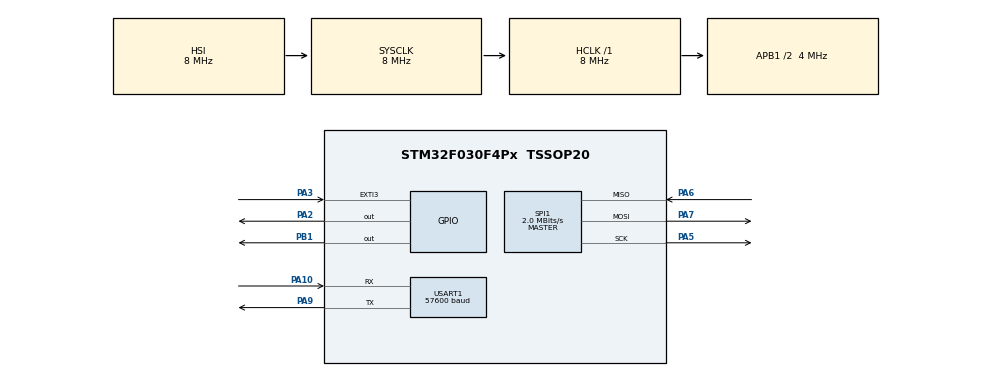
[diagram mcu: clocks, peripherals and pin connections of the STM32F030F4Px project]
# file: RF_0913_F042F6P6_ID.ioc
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Dma.Request0=USART1_RX
Dma.Request1=USART1_TX
Dma.USART1_RX.0.Direction=DMA_PERIPH_TO_MEMORY
Dma.USART1_RX.0.Instance=DMA1_Channel3
Dma.USART1_RX.0.MemDataAlignment=DMA_MDATAALIGN_BYTE
Dma.USART1_RX.0.MemInc=DMA_MINC_ENABLE
Dma.USART1_RX.0.Mode=DMA_NORMAL
Dma.USART1_RX.0.PeriphDataAlignment=DMA_PDATAALIGN_BYTE
Dma.USART1_RX.0.PeriphInc=DMA_PINC_DISABLE
Dma.USART1_RX.0.Priority=DMA_PRIORITY_LOW
Dma.USART1_TX.1.Direction=DMA_MEMORY_TO_PERIPH
Dma.USART1_TX.1.Instance=DMA1_Channel2
Dma.USART1_TX.1.MemDataAlignment=DMA_MDATAALIGN_BYTE
Dma.USART1_TX.1.MemInc=DMA_MINC_ENABLE
Dma.USART1_TX.1.Mode=DMA_NORMAL
Dma.USART1_TX.1.PeriphDataAlignment=DMA_PDATAALIGN_BYTE
Dma.USART1_TX.1.PeriphInc=DMA_PINC_DISABLE
Dma.USART1_TX.1.Priority=DMA_PRIORITY_LOW
Mcu.Family=STM32F0
Mcu.Name=STM32F030F4Px
Mcu.Package=TSSOP20
NVIC.DMA1_Channel2_3_IRQn=true\:0\:0\:false\:false\:true
NVIC.EXTI2_3_IRQn=true\:0\:0\:false\:false\:true
NVIC.USART1_IRQn=true\:0\:0\:false\:false\:true
PA10.Mode=Asynchronous
PA10.Signal=USART1_RX
PA13.Mode=Serial_Wire
PA13.Signal=SYS_SWDIO
PA14.Mode=Serial_Wire
PA14.Signal=SYS_SWCLK
PA2.PinState=GPIO_PIN_SET
PA2.Signal=GPIO_Output
PA3.GPIO_ModeDefaultEXTI=GPIO_MODE_IT_FALLING
PA3.GPIO_PuPd=GPIO_PULLUP
PA3.Signal=GPXTI3
PA5.Mode=Full_Duplex_Master
PA5.Signal=SPI1_SCK
PA6.Mode=Full_Duplex_Master
PA6.Signal=SPI1_MISO
PA7.Mode=Full_Duplex_Master
PA7.Signal=SPI1_MOSI
PA9.Mode=Asynchronous
PA9.Signal=USART1_TX
PB1.Signal=GPIO_Output
ProjectManager.HeapSize=0x200
ProjectManager.StackSize=0x400
ProjectManager.TargetToolchain=MDK-ARM V5
RCC.AHBFreq_Value=8000000
RCC.APB1CLKDivider=RCC_HCLK_DIV2
RCC.APB1Freq_Value=4000000
RCC.APB1TimFreq_Value=8000000
RCC.HCLKFreq_Value=8000000
RCC.PLLMUL=RCC_PLL_MUL4
RCC.SYSCLKFreq_VALUE=8000000
SPI1.BaudRatePrescaler=SPI_BAUDRATEPRESCALER_2
SPI1.CalculateBaudRate=2.0 MBits/s
SPI1.DataSize=SPI_DATASIZE_8BIT
SPI1.Direction=SPI_DIRECTION_2LINES
SPI1.Mode=SPI_MODE_MASTER
SPI1.VirtualType=VM_MASTER
USART1.BaudRate=57600
USART1.VirtualMode-Asynchronous=VM_ASYNC
board=RF_0913_F042F6P6_ID

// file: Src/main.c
/**
  ******************************************************************************
  * File Name          : main.c
  * Description        : Main program body
  ******************************************************************************
  ** This notice applies to any and all portions of this file
  * that are not between comment pairs USER CODE BEGIN and
  * USER CODE END. Other portions of this file, whether
  * inserted by the user or by software development tools
  * are owned by their respective copyright owners.
  *
  * COPYRIGHT(c) 2017 STMicroelectronics
  *
  * Redistribution and use in source and binary forms, with or without modification,
  * are permitted provided that the following conditions are met:
  *   1. Redistributions of source code must retain the above copyright notice,
  *      this list of conditions and the following disclaimer.
  *   2. Redistributions in binary form must reproduce the above copyright notice,
  *      this list of conditions and the following disclaimer in the documentation
  *      and/or other materials provided with the distribution.
  *   3. Neither the name of STMicroelectronics nor the names of its contributors
  *      may be used to endorse or promote products derived from this software
  *      without specific prior written permission.
  *
  * THIS SOFTWARE IS PROVIDED BY THE COPYRIGHT HOLDERS AND CONTRIBUTORS "AS IS"
  * AND ANY EXPRESS OR IMPLIED WARRANTIES, INCLUDING, BUT NOT LIMITED TO, THE
  * IMPLIED WARRANTIES OF MERCHANTABILITY AND FITNESS FOR A PARTICULAR PURPOSE ARE
  * DISCLAIMED. IN NO EVENT SHALL THE COPYRIGHT HOLDER OR CONTRIBUTORS BE LIABLE
  * FOR ANY DIRECT, INDIRECT, INCIDENTAL, SPECIAL, EXEMPLARY, OR CONSEQUENTIAL
  * DAMAGES (INCLUDING, BUT NOT LIMITED TO, PROCUREMENT OF SUBSTITUTE GOODS OR
  * SERVICES; LOSS OF USE, DATA, OR PROFITS; OR BUSINESS INTERRUPTION) HOWEVER
  * CAUSED AND ON ANY THEORY OF LIABILITY, WHETHER IN CONTRACT, STRICT LIABILITY,
  * OR TORT (INCLUDING NEGLIGENCE OR OTHERWISE) ARISING IN ANY WAY OUT OF THE USE
  * OF THIS SOFTWARE, EVEN IF ADVISED OF THE POSSIBILITY OF SUCH DAMAGE.
  *
  ******************************************************************************
  */
#include "main.h"
#include "stm32f0xx_hal.h"

/* USER CODE BEGIN Includes */
#include "stm32f0xx.h"
#include "main.h"
#include "flash.h"
#include "systime.h"
#include "time.h"
#include "Si4463.h"
#include "RF_parameter_setting.h"
#include "xz_cc1121_init.h"
#include "hac_crc16l.h"
#include "stm32f0xx_hal.h"
#include "systime.h"

/* USER CODE END Includes */

SPI_HandleTypeDef hspi1;

UART_HandleTypeDef huart1;
DMA_HandleTypeDef hdma_usart1_rx;
DMA_HandleTypeDef hdma_usart1_tx;

/* USER CODE BEGIN PV */
/* Private variables ---------------------------------------------------------*/
#define u8 unsigned char
//extern unsigned char nIRQ;
extern unsigned int len_var;
extern unsigned char recv_end_flag;
//extern unsigned char tx_ph_data[buffer_size];
extern unsigned char state_idle;
extern unsigned int rf_tx_index;
extern unsigned char nIRQ;
extern U8 spi_read_buf[20];  //status buffer
extern uint32_t uart_rx_len;
extern uint32_t rx_len_tmp;
extern CC1121_RF_RX_DATA RF_RECEIVE_DATA;
uint32_t uart_dma_state=1;
uint32_t uBrate=9600;
/* USER CODE END PV */

void SystemClock_Config(void);
static void MX_GPIO_Init(void);
static void MX_DMA_Init(void);
static void MX_SPI1_Init(void);
static void MX_USART1_UART_Init(void);

/* USER CODE BEGIN PFP */
/* Private function prototypes -----------------------------------------------*/
/* USER CODE END PFP */

/* USER CODE BEGIN 0 */

void RE_Configuration()
{
	Si4463_GpioInt();
	//HAL_DMA_Abort_IT(&hdma_usart1_tx);
	//HAL_DMA_Abort_IT(&hdma_usart1_rx);

	//RF_parameters_init();
	//RF_parameters_read();

	MX_USART1_UART_Init();
//	HAL_UART_Receive_DMA(&huart1,tx_ph_data,buffer_size);
//	__HAL_UART_ENABLE_IT(&huart1, UART_IT_IDLE);    //??????

	HAL_NVIC_EnableIRQ(EXTI2_3_IRQn);
	HAL_NVIC_ClearPendingIRQ(EXTI2_3_IRQn);
	HAL_NVIC_SetPriority(EXTI2_3_IRQn, 1, 0);

	delay_us(200);
	//nIRQ=1;
	//recv_end_flag=0;
//	uart_rx_len=0;
//	rx_len_tmp=0;
	//len_var=0;

	__HAL_UART_CLEAR_IDLEFLAG(&huart1);
//  HAL_IWDG_Start(&hiwdg);//start iwdg
}
void RF_init()
{
	HAL_NVIC_DisableIRQ(EXTI2_3_IRQn);
	//Si4463_GpioInt();
	HAL_DMA_Abort_IT(&hdma_usart1_tx);
	HAL_DMA_Abort_IT(&hdma_usart1_rx);

	//RF_parameters_init();
	//RF_parameters_read();
	//RE_Configuration();
	MX_USART1_UART_Init();
	HAL_UART_Receive_DMA(&huart1,RF_RECEIVE_DATA.rf_receive_data_buff,buffer_size);
	__HAL_UART_ENABLE_IT(&huart1, UART_IT_IDLE);    //??????

	HAL_NVIC_EnableIRQ(EXTI2_3_IRQn);
	HAL_NVIC_ClearPendingIRQ(EXTI2_3_IRQn);
	HAL_NVIC_SetPriority(EXTI2_3_IRQn, 1, 0);

	delay_us(200);
	//nIRQ=1;
	recv_end_flag=0;
	uart_rx_len=0;
	rx_len_tmp=0;
	len_var=0;

	__HAL_UART_CLEAR_IDLEFLAG(&huart1);
//  HAL_IWDG_Start(&hiwdg);//start iwdg
}

unsigned char read_data;
/* USER CODE END 0 */

int main(void)
{

	/* MCU Configuration----------------------------------------------------------*/

	/* Reset of all peripherals, Initializes the Flash interface and the Systick. */
	HAL_Init();

	/* Configure the system clock */
	SystemClock_Config();

	/* Initialize all configured peripherals */
	MX_GPIO_Init();
	MX_DMA_Init();
	MX_SPI1_Init();
	MX_USART1_UART_Init();
    BOARD_CC1121_GPIO_Init();
	/* USER CODE BEGIN 2 */
//GetLockCode();
//rev_ID_write(Lock_Code1);
//Lock_Code=0;
//Lock_Code=rev_ID_read();
//	if(Lock_Code != Lock_Code1)
	//	return 0; //??0x123456789ABC??????ID
	//HAL_GPIO_WritePin(GPIOB, GPIO_PIN_1, GPIO_PIN_RESET);	//开锁
	RF_init();
	RF_CC1121_Init();
	/* USER CODE END 2 */

	/* Infinite loop */
	while (1)
	{

		/* USER CODE BEGIN 3 */
		read_data=RF_Part_Number();
		RF_CC1121_Get_Data();
		//RF_TX_RX_CTRL();
		//RF_Process();
		//  HAL_IWDG_Refresh(&hiwdg);//watch dog

	}
	/* USER CODE END 3 */

}

/** System Clock Configuration
*/
void SystemClock_Config(void)
{

	RCC_OscInitTypeDef RCC_OscInitStruct;
	RCC_ClkInitTypeDef RCC_ClkInitStruct;
	RCC_PeriphCLKInitTypeDef PeriphClkInit;

	/**Initializes the CPU, AHB and APB busses clocks
	*/
	RCC_OscInitStruct.OscillatorType = RCC_OSCILLATORTYPE_HSI;
	RCC_OscInitStruct.HSIState = RCC_HSI_ON;
	RCC_OscInitStruct.HSICalibrationValue = 16;
	RCC_OscInitStruct.PLL.PLLState = RCC_PLL_NONE;
	if (HAL_RCC_OscConfig(&RCC_OscInitStruct) != HAL_OK)
	{
		_Error_Handler(__FILE__, __LINE__);
	}

	/**Initializes the CPU, AHB and APB busses clocks
	*/
	RCC_ClkInitStruct.ClockType = RCC_CLOCKTYPE_HCLK|RCC_CLOCKTYPE_SYSCLK
	                              |RCC_CLOCKTYPE_PCLK1;
	RCC_ClkInitStruct.SYSCLKSource = RCC_SYSCLKSOURCE_HSI;
	RCC_ClkInitStruct.AHBCLKDivider = RCC_SYSCLK_DIV1;
	RCC_ClkInitStruct.APB1CLKDivider = RCC_HCLK_DIV2;

	if (HAL_RCC_ClockConfig(&RCC_ClkInitStruct, FLASH_LATENCY_0) != HAL_OK)
	{
		_Error_Handler(__FILE__, __LINE__);
	}

	PeriphClkInit.PeriphClockSelection = RCC_PERIPHCLK_USART1;
	PeriphClkInit.Usart1ClockSelection = RCC_USART1CLKSOURCE_PCLK1;
	if (HAL_RCCEx_PeriphCLKConfig(&PeriphClkInit) != HAL_OK)
	{
		_Error_Handler(__FILE__, __LINE__);
	}

	/**Configure the Systick interrupt time
	*/
	HAL_SYSTICK_Config(HAL_RCC_GetHCLKFreq()/1000);

	/**Configure the Systick
	*/
	HAL_SYSTICK_CLKSourceConfig(SYSTICK_CLKSOURCE_HCLK);

	/* SysTick_IRQn interrupt configuration */
	HAL_NVIC_SetPriority(SysTick_IRQn, 0, 0);
}

/* SPI1 init function */
static void MX_SPI1_Init(void)
{

	hspi1.Instance = SPI1;
	hspi1.Init.Mode = SPI_MODE_MASTER;
	hspi1.Init.Direction = SPI_DIRECTION_2LINES;
	hspi1.Init.DataSize = SPI_DATASIZE_8BIT;
	hspi1.Init.CLKPolarity = SPI_POLARITY_LOW;
	hspi1.Init.CLKPhase = SPI_PHASE_1EDGE;
	hspi1.Init.NSS = SPI_NSS_SOFT;
	hspi1.Init.BaudRatePrescaler = SPI_BAUDRATEPRESCALER_2;
	hspi1.Init.FirstBit = SPI_FIRSTBIT_MSB;
	hspi1.Init.TIMode = SPI_TIMODE_DISABLE;
	hspi1.Init.CRCCalculation = SPI_CRCCALCULATION_DISABLE;
	hspi1.Init.CRCPolynomial = 7;
	hspi1.Init.CRCLength = SPI_CRC_LENGTH_DATASIZE;
	hspi1.Init.NSSPMode = SPI_NSS_PULSE_ENABLE;
	if (HAL_SPI_Init(&hspi1) != HAL_OK)
	{
		_Error_Handler(__FILE__, __LINE__);
	}

}

/* USART1 init function */
static void MX_USART1_UART_Init(void)
{

	huart1.Instance = USART1;
	huart1.Init.BaudRate = 57600;
	huart1.Init.WordLength = UART_WORDLENGTH_8B;
	huart1.Init.StopBits = UART_STOPBITS_1;
	huart1.Init.Parity = UART_PARITY_NONE;
	huart1.Init.Mode = UART_MODE_TX_RX;
	huart1.Init.HwFlowCtl = UART_HWCONTROL_NONE;
	huart1.Init.OverSampling = UART_OVERSAMPLING_16;
	huart1.Init.OneBitSampling = UART_ONE_BIT_SAMPLE_DISABLE;
	huart1.AdvancedInit.AdvFeatureInit = UART_ADVFEATURE_NO_INIT;
	if (HAL_UART_Init(&huart1) != HAL_OK)
	{
		_Error_Handler(__FILE__, __LINE__);
	}

}

static void MX_DMA_Init(void)
{
	/* DMA controller clock enable */
	__HAL_RCC_DMA1_CLK_ENABLE();

	/* DMA interrupt init */
	/* DMA1_Channel2_3_IRQn interrupt configuration */
	HAL_NVIC_SetPriority(DMA1_Channel2_3_IRQn, 0, 0);
	HAL_NVIC_EnableIRQ(DMA1_Channel2_3_IRQn);

}

/** Configure pins as
        * Analog
        * Input
        * Output
        * EVENT_OUT
        * EXTI
*/
static void MX_GPIO_Init(void)
{

	GPIO_InitTypeDef GPIO_InitStruct;

	/* GPIO Ports Clock Enable */
	__HAL_RCC_GPIOA_CLK_ENABLE();
	__HAL_RCC_GPIOB_CLK_ENABLE();

	/*Configure GPIO pin Output Level */
	HAL_GPIO_WritePin(GPIOA, GPIO_PIN_2, GPIO_PIN_SET);

	/*Configure GPIO pin Output Level */
	HAL_GPIO_WritePin(GPIOB, GPIO_PIN_1, GPIO_PIN_RESET);

	/*Configure GPIO pin : PA2 */
	GPIO_InitStruct.Pin = GPIO_PIN_2;
	GPIO_InitStruct.Mode = GPIO_MODE_OUTPUT_PP;
	GPIO_InitStruct.Pull = GPIO_NOPULL;
	GPIO_InitStruct.Speed = GPIO_SPEED_FREQ_LOW;
	HAL_GPIO_Init(GPIOA, &GPIO_InitStruct);

	/*Configure GPIO pin : PA3 */
	GPIO_InitStruct.Pin = GPIO_PIN_3;
	GPIO_InitStruct.Mode = GPIO_MODE_IT_FALLING;
	GPIO_InitStruct.Pull = GPIO_PULLUP;
	HAL_GPIO_Init(GPIOA, &GPIO_InitStruct);

	/*Configure GPIO pin : PB1 */
	GPIO_InitStruct.Pin = GPIO_PIN_1;
	GPIO_InitStruct.Mode = GPIO_MODE_OUTPUT_PP;
	GPIO_InitStruct.Pull = GPIO_NOPULL;
	GPIO_InitStruct.Speed = GPIO_SPEED_FREQ_LOW;
	HAL_GPIO_Init(GPIOB, &GPIO_InitStruct);

	/* EXTI interrupt init*/
	HAL_NVIC_SetPriority(EXTI2_3_IRQn, 0, 0);
	HAL_NVIC_EnableIRQ(EXTI2_3_IRQn);

}

/* USER CODE BEGIN 4 */

void HAL_UART_TxCpltCallback(UART_HandleTypeDef *huart)
{
	uart_dma_state=1;
}
/* USER CODE END 4 */

void _Error_Handler(char * file, int line)
{
	while(1)
	{
	}
}

/************************ (C) COPYRIGHT STMicroelectronics *****END OF FILE****/
